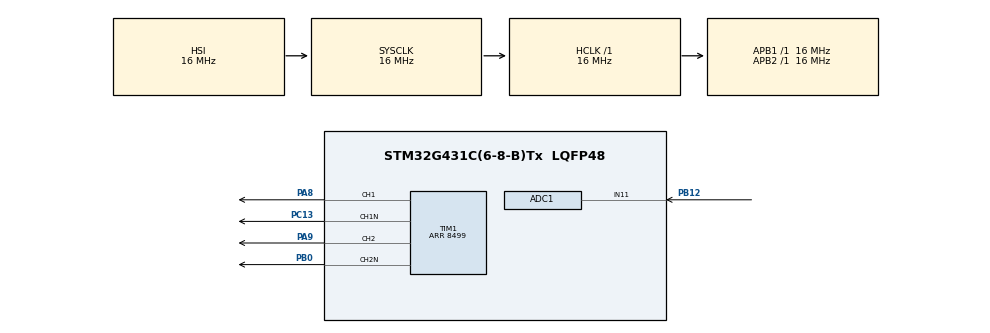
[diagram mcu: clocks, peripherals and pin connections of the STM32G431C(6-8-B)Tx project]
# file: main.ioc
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ADC1.Channel-3\#ChannelRegularConversion=ADC_CHANNEL_11
ADC1.NbrOfConversionFlag=1
ADC1.OffsetNumber-3\#ChannelRegularConversion=ADC_OFFSET_NONE
ADC1.Rank-3\#ChannelRegularConversion=1
ADC1.SamplingTime-3\#ChannelRegularConversion=ADC_SAMPLETIME_2CYCLES_5
ADC1.master=1
Mcu.Family=STM32G4
Mcu.Name=STM32G431C(6-8-B)Tx
Mcu.Package=LQFP48
NVIC.PriorityGroup=NVIC_PRIORITYGROUP_4
PA13.Mode=Serial_Wire
PA13.Signal=SYS_JTMS-SWDIO
PA14.Mode=Serial_Wire
PA14.Signal=SYS_JTCK-SWCLK
PA8.Signal=S_TIM1_CH1
PA9.Signal=S_TIM1_CH2
PB0.Mode=Output Compare2 CH2 CH2N
PB0.Signal=TIM1_CH2N
PB12.Mode=IN11-Single-Ended
PB12.Signal=ADC1_IN11
PC13.Mode=Forced Output1 CH1 CH1N
PC13.Signal=TIM1_CH1N
ProjectManager.HeapSize=0x200
ProjectManager.StackSize=0x400
ProjectManager.TargetToolchain=CMake
RCC.AHBFreq_Value=16000000
RCC.APB1Freq_Value=16000000
RCC.APB1TimFreq_Value=16000000
RCC.APB2Freq_Value=16000000
RCC.APB2TimFreq_Value=16000000
RCC.CortexFreq_Value=16000000
RCC.EXTERNAL_CLOCK_VALUE=12288000
RCC.HCLKFreq_Value=16000000
RCC.HSE_VALUE=8000000
RCC.HSI48_VALUE=48000000
RCC.HSI_VALUE=16000000
RCC.LSE_VALUE=32768
RCC.SYSCLKFreq_VALUE=16000000
RCC.USBFreq_Value=64000000
RCC.VCOOutputFreq_Value=128000000
SH.S_TIM1_CH1.0=TIM1_CH1,Forced Output1 CH1 CH1N
SH.S_TIM1_CH2.0=TIM1_CH2,Output Compare2 CH2 CH2N
TIM1.Channel-Forced\ Output1\ CH1\ CH1N=TIM_CHANNEL_1
TIM1.Channel-Output\ Compare2\ CH2\ CH2N=TIM_CHANNEL_2
TIM1.DeadTime=1
TIM1.DeadTimePreload=ENABLE
TIM1.PeriodNoDither=8499
VP_SYS_VS_DBSignals.Mode=DisableDeadBatterySignals
board=custom

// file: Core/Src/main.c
/* USER CODE BEGIN Header */
/**
  ******************************************************************************
  * @file           : main.c
  * @brief          : Main program body
  ******************************************************************************
  * @attention
  *
  * Copyright (c) 2026 STMicroelectronics.
  * All rights reserved.
  *
  * This software is licensed under terms that can be found in the LICENSE file
  * in the root directory of this software component.
  * If no LICENSE file comes with this software, it is provided AS-IS.
  *
  ******************************************************************************
  */
/* USER CODE END Header */
#include "main.h"

ADC_HandleTypeDef hadc1;

TIM_HandleTypeDef htim1;

/* USER CODE BEGIN PV */
volatile uint32_t adc_val  = 0;   // Pot okuması
volatile uint32_t ccr_val  = 0;   // PWM
volatile float    duty_pct = 0;   // Duty cycle
/* USER CODE END PV */

void SystemClock_Config(void);
static void MX_GPIO_Init(void);
static void MX_ADC1_Init(void);
static void MX_TIM1_Init(void);

int main(void)
{

  /* MCU Configuration--------------------------------------------------------*/

  /* Reset of all peripherals, Initializes the Flash interface and the Systick. */
  HAL_Init();

  /* Configure the system clock */
  SystemClock_Config();

  /* Initialize all configured peripherals */
  MX_GPIO_Init();
  MX_ADC1_Init();
  MX_TIM1_Init();
  /* USER CODE BEGIN 2 */
HAL_ADCEx_Calibration_Start(&hadc1, ADC_SINGLE_ENDED);

HAL_TIM_PWM_Start(&htim1, TIM_CHANNEL_1);
HAL_TIMEx_PWMN_Start(&htim1, TIM_CHANNEL_1);
HAL_TIM_PWM_Start(&htim1, TIM_CHANNEL_2);
HAL_TIMEx_PWMN_Start(&htim1, TIM_CHANNEL_2);

__HAL_TIM_SET_COMPARE(&htim1, TIM_CHANNEL_1, 0);   // U
__HAL_TIM_SET_COMPARE(&htim1, TIM_CHANNEL_2, 0);   // V
  /* USER CODE END 2 */

  /* Infinite loop */
  while (1)
  {

    /* USER CODE BEGIN 3 */
HAL_ADC_Start(&hadc1);
if (HAL_ADC_PollForConversion(&hadc1, 10) == HAL_OK)
{
    adc_val = HAL_ADC_GetValue(&hadc1);

    uint32_t arr = __HAL_TIM_GET_AUTORELOAD(&htim1);
    ccr_val  = (adc_val * arr / 4095) * 95 / 100;     // Duty en fazla %95
    duty_pct = (float)ccr_val * 100.0f / (float)arr;

    __HAL_TIM_SET_COMPARE(&htim1, TIM_CHANNEL_1, ccr_val);
}
HAL_Delay(5);

  }
  /* USER CODE END 3 */
}

void SystemClock_Config(void)
{
  RCC_OscInitTypeDef RCC_OscInitStruct = {0};
  RCC_ClkInitTypeDef RCC_ClkInitStruct = {0};

  /** Configure the main internal regulator output voltage
  */
  HAL_PWREx_ControlVoltageScaling(PWR_REGULATOR_VOLTAGE_SCALE1);

  /** Initializes the RCC Oscillators according to the specified parameters
  * in the RCC_OscInitTypeDef structure.
  */
  RCC_OscInitStruct.OscillatorType = RCC_OSCILLATORTYPE_HSI;
  RCC_OscInitStruct.HSIState = RCC_HSI_ON;
  RCC_OscInitStruct.HSICalibrationValue = RCC_HSICALIBRATION_DEFAULT;
  RCC_OscInitStruct.PLL.PLLState = RCC_PLL_NONE;
  if (HAL_RCC_OscConfig(&RCC_OscInitStruct) != HAL_OK)
  {
    Error_Handler();
  }

  /** Initializes the CPU, AHB and APB buses clocks
  */
  RCC_ClkInitStruct.ClockType = RCC_CLOCKTYPE_HCLK|RCC_CLOCKTYPE_SYSCLK
                              |RCC_CLOCKTYPE_PCLK1|RCC_CLOCKTYPE_PCLK2;
  RCC_ClkInitStruct.SYSCLKSource = RCC_SYSCLKSOURCE_HSI;
  RCC_ClkInitStruct.AHBCLKDivider = RCC_SYSCLK_DIV1;
  RCC_ClkInitStruct.APB1CLKDivider = RCC_HCLK_DIV1;
  RCC_ClkInitStruct.APB2CLKDivider = RCC_HCLK_DIV1;

  if (HAL_RCC_ClockConfig(&RCC_ClkInitStruct, FLASH_LATENCY_0) != HAL_OK)
  {
    Error_Handler();
  }
}

static void MX_ADC1_Init(void)
{

  ADC_MultiModeTypeDef multimode = {0};
  ADC_ChannelConfTypeDef sConfig = {0};

  /** Common config
  */
  hadc1.Instance = ADC1;
  hadc1.Init.ClockPrescaler = ADC_CLOCK_SYNC_PCLK_DIV2;
  hadc1.Init.Resolution = ADC_RESOLUTION_12B;
  hadc1.Init.DataAlign = ADC_DATAALIGN_RIGHT;
  hadc1.Init.GainCompensation = 0;
  hadc1.Init.ScanConvMode = ADC_SCAN_DISABLE;
  hadc1.Init.EOCSelection = ADC_EOC_SINGLE_CONV;
  hadc1.Init.LowPowerAutoWait = DISABLE;
  hadc1.Init.ContinuousConvMode = DISABLE;
  hadc1.Init.NbrOfConversion = 1;
  hadc1.Init.DiscontinuousConvMode = DISABLE;
  hadc1.Init.ExternalTrigConv = ADC_SOFTWARE_START;
  hadc1.Init.ExternalTrigConvEdge = ADC_EXTERNALTRIGCONVEDGE_NONE;
  hadc1.Init.DMAContinuousRequests = DISABLE;
  hadc1.Init.Overrun = ADC_OVR_DATA_PRESERVED;
  hadc1.Init.OversamplingMode = DISABLE;
  if (HAL_ADC_Init(&hadc1) != HAL_OK)
  {
    Error_Handler();
  }

  /** Configure the ADC multi-mode
  */
  multimode.Mode = ADC_MODE_INDEPENDENT;
  if (HAL_ADCEx_MultiModeConfigChannel(&hadc1, &multimode) != HAL_OK)
  {
    Error_Handler();
  }

  /** Configure Regular Channel
  */
  sConfig.Channel = ADC_CHANNEL_11;
  sConfig.Rank = ADC_REGULAR_RANK_1;
  sConfig.SamplingTime = ADC_SAMPLETIME_2CYCLES_5;
  sConfig.SingleDiff = ADC_SINGLE_ENDED;
  sConfig.OffsetNumber = ADC_OFFSET_NONE;
  sConfig.Offset = 0;
  if (HAL_ADC_ConfigChannel(&hadc1, &sConfig) != HAL_OK)
  {
    Error_Handler();
  }

}

static void MX_TIM1_Init(void)
{

  TIM_MasterConfigTypeDef sMasterConfig = {0};
  TIM_OC_InitTypeDef sConfigOC = {0};
  TIM_BreakDeadTimeConfigTypeDef sBreakDeadTimeConfig = {0};

  htim1.Instance = TIM1;
  htim1.Init.Prescaler = 0;
  htim1.Init.CounterMode = TIM_COUNTERMODE_UP;
  htim1.Init.Period = 8499;
  htim1.Init.ClockDivision = TIM_CLOCKDIVISION_DIV1;
  htim1.Init.RepetitionCounter = 0;
  htim1.Init.AutoReloadPreload = TIM_AUTORELOAD_PRELOAD_DISABLE;
  if (HAL_TIM_OC_Init(&htim1) != HAL_OK)
  {
    Error_Handler();
  }
  sMasterConfig.MasterOutputTrigger = TIM_TRGO_RESET;
  sMasterConfig.MasterOutputTrigger2 = TIM_TRGO2_RESET;
  sMasterConfig.MasterSlaveMode = TIM_MASTERSLAVEMODE_DISABLE;
  if (HAL_TIMEx_MasterConfigSynchronization(&htim1, &sMasterConfig) != HAL_OK)
  {
    Error_Handler();
  }
  sConfigOC.OCMode = TIM_OCMODE_FORCED_ACTIVE;
  sConfigOC.Pulse = 0;
  sConfigOC.OCPolarity = TIM_OCPOLARITY_HIGH;
  sConfigOC.OCNPolarity = TIM_OCNPOLARITY_HIGH;
  sConfigOC.OCFastMode = TIM_OCFAST_DISABLE;
  sConfigOC.OCIdleState = TIM_OCIDLESTATE_RESET;
  sConfigOC.OCNIdleState = TIM_OCNIDLESTATE_RESET;
  if (HAL_TIM_OC_ConfigChannel(&htim1, &sConfigOC, TIM_CHANNEL_1) != HAL_OK)
  {
    Error_Handler();
  }
  sConfigOC.OCMode = TIM_OCMODE_TIMING;
  if (HAL_TIM_OC_ConfigChannel(&htim1, &sConfigOC, TIM_CHANNEL_2) != HAL_OK)
  {
    Error_Handler();
  }
  HAL_TIMEx_EnableDeadTimePreload(&htim1);
  sBreakDeadTimeConfig.OffStateRunMode = TIM_OSSR_DISABLE;
  sBreakDeadTimeConfig.OffStateIDLEMode = TIM_OSSI_DISABLE;
  sBreakDeadTimeConfig.LockLevel = TIM_LOCKLEVEL_OFF;
  sBreakDeadTimeConfig.DeadTime = 1;
  sBreakDeadTimeConfig.BreakState = TIM_BREAK_DISABLE;
  sBreakDeadTimeConfig.BreakPolarity = TIM_BREAKPOLARITY_HIGH;
  sBreakDeadTimeConfig.BreakFilter = 0;
  sBreakDeadTimeConfig.BreakAFMode = TIM_BREAK_AFMODE_INPUT;
  sBreakDeadTimeConfig.Break2State = TIM_BREAK2_DISABLE;
  sBreakDeadTimeConfig.Break2Polarity = TIM_BREAK2POLARITY_HIGH;
  sBreakDeadTimeConfig.Break2Filter = 0;
  sBreakDeadTimeConfig.Break2AFMode = TIM_BREAK_AFMODE_INPUT;
  sBreakDeadTimeConfig.AutomaticOutput = TIM_AUTOMATICOUTPUT_DISABLE;
  if (HAL_TIMEx_ConfigBreakDeadTime(&htim1, &sBreakDeadTimeConfig) != HAL_OK)
  {
    Error_Handler();
  }
  HAL_TIM_MspPostInit(&htim1);

}

static void MX_GPIO_Init(void)
{

  /* GPIO Ports Clock Enable */
  __HAL_RCC_GPIOC_CLK_ENABLE();
  __HAL_RCC_GPIOB_CLK_ENABLE();
  __HAL_RCC_GPIOA_CLK_ENABLE();

}

void Error_Handler(void)
{
  __disable_irq();
  while (1)
  {
  }
}
